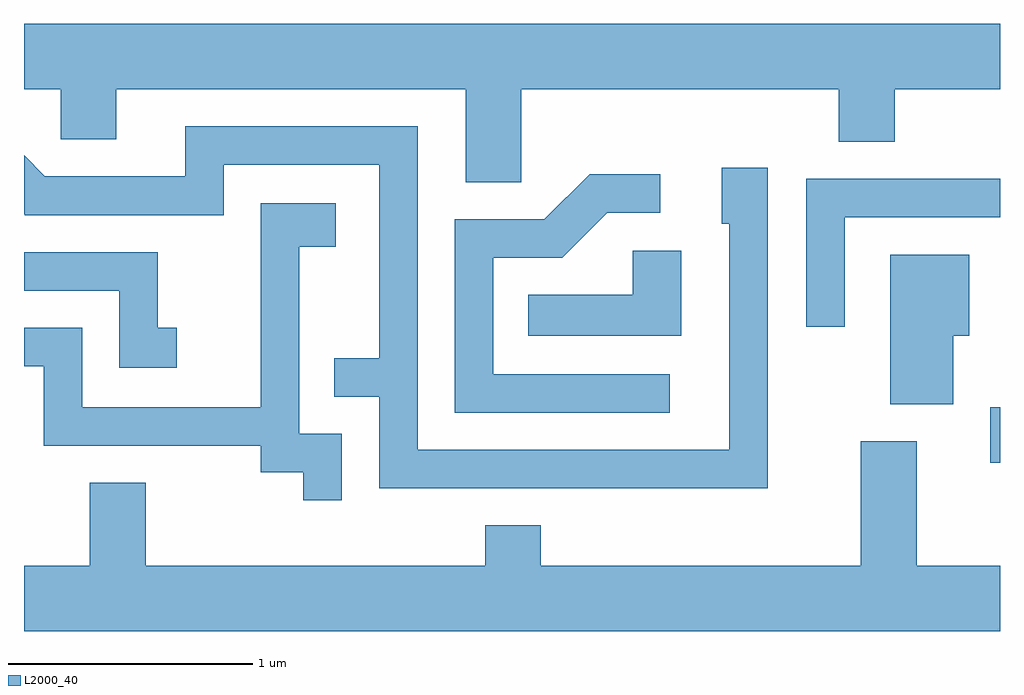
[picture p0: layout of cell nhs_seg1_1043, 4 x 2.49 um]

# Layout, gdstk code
import gdstk
lib = gdstk.Library(unit=1e-6, precision=1e-09)
def R(c, l, rs):  # rectangles x0, y0, x1, y1
    for r in rs: c.add(gdstk.rectangle(r[:2], r[2:], *l))
def P(c, l, *ps):  # polygons
    for p in ps: c.add(gdstk.Polygon(p, *l))
L2000_40 = (2000, 40)

nhs_seg1_1043 = lib.new_cell('nhs_seg1_1043')
R(nhs_seg1_1043, L2000_40, [(221.571,884.726,221.611,884.954)])
P(nhs_seg1_1043, L2000_40, [(219.649,886.256),(220.951,886.256),(220.951,886.041),(221.179,886.041),(221.179,886.256),(221.611,886.256),(221.611,886.524),(217.611,886.524),(217.611,886.256),(217.761,886.256),(217.761,886.051),(217.989,886.051),(217.989,886.256),(219.421,886.256),(219.421,885.876),(219.649,885.876)],
  [(220.659,885.934),(220.471,885.934),(220.471,885.706),(220.501,885.706),(220.501,884.779),(219.224,884.779),(219.224,886.104),(218.271,886.104),(218.271,885.899),(217.697,885.899),(217.611,885.985),(217.611,885.744),(217.614,885.741),(218.429,885.741),(218.429,885.946),(219.066,885.946),(219.066,885.154),(218.883,885.154),(218.883,884.996),(219.066,884.996),(219.066,884.621),(220.659,884.621)],
  [(220.258,885.089),(219.534,885.089),(219.534,885.566),(219.817,885.566),(220.002,885.751),(220.218,885.751),(220.218,885.909),(219.929,885.909),(219.744,885.724),(219.376,885.724),(219.376,884.931),(220.258,884.931)],
  [(220.974,885.731),(221.611,885.731),(221.611,885.889),(220.816,885.889),(220.816,885.283),(220.974,885.283)],
  [(218.914,884.844),(218.739,884.844),(218.739,885.611),(218.889,885.611),(218.889,885.789),(218.581,885.789),(218.581,884.954),(217.849,884.954),(217.849,885.279),(217.611,885.279),(217.611,885.121),(217.691,885.121),(217.691,884.796),(218.581,884.796),(218.581,884.686),(218.756,884.686),(218.756,884.573),(218.914,884.573)],
  [(220.304,885.594),(220.106,885.594),(220.106,885.414),(219.678,885.414),(219.678,885.246),(220.304,885.246)],
  [(218.238,885.279),(218.159,885.279),(218.159,885.589),(217.611,885.589),(217.611,885.431),(218.001,885.431),(218.001,885.116),(218.238,885.116)],
  [(221.419,885.246),(221.484,885.246),(221.484,885.579),(221.161,885.579),(221.161,884.966),(221.419,884.966)],
  [(221.611,884.304),(221.269,884.304),(221.269,884.814),(221.041,884.814),(221.041,884.304),(219.729,884.304),(219.729,884.469),(219.501,884.469),(219.501,884.304),(218.109,884.304),(218.109,884.644),(217.881,884.644),(217.881,884.304),(217.611,884.304),(217.611,884.036),(221.611,884.036)])

lib.write_gds('nhs_seg1_1043.gds')
